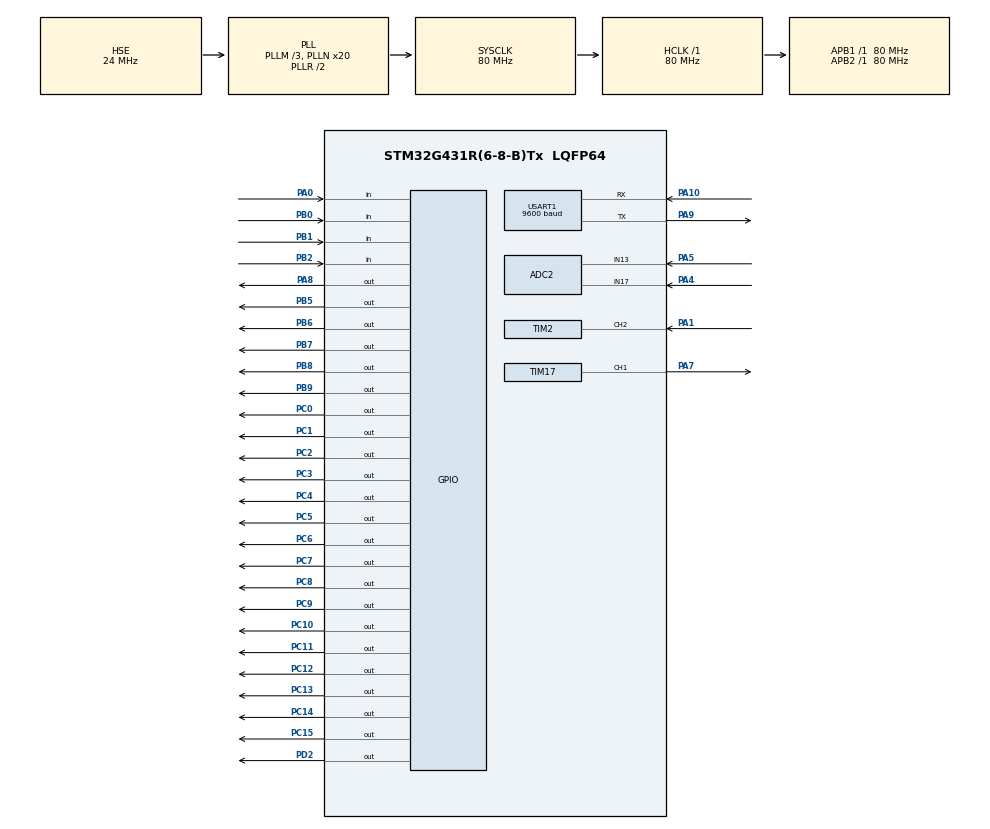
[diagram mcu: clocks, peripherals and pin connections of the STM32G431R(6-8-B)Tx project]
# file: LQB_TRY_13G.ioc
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ADC2.Channel-0\#ChannelRegularConversion=ADC_CHANNEL_17
ADC2.Channel-1\#ChannelRegularConversion=ADC_CHANNEL_13
ADC2.NbrOfConversion=2
ADC2.NbrOfConversionFlag=1
ADC2.OffsetNumber-0\#ChannelRegularConversion=ADC_OFFSET_NONE
ADC2.OffsetNumber-1\#ChannelRegularConversion=ADC_OFFSET_NONE
ADC2.Rank-0\#ChannelRegularConversion=1
ADC2.Rank-1\#ChannelRegularConversion=2
ADC2.SamplingTime-0\#ChannelRegularConversion=ADC_SAMPLETIME_640CYCLES_5
ADC2.SamplingTime-1\#ChannelRegularConversion=ADC_SAMPLETIME_640CYCLES_5
Dma.Request0=USART1_RX
Dma.USART1_RX.0.Direction=DMA_PERIPH_TO_MEMORY
Dma.USART1_RX.0.EventEnable=DISABLE
Dma.USART1_RX.0.Instance=DMA1_Channel1
Dma.USART1_RX.0.MemDataAlignment=DMA_MDATAALIGN_BYTE
Dma.USART1_RX.0.MemInc=DMA_MINC_ENABLE
Dma.USART1_RX.0.Mode=DMA_NORMAL
Dma.USART1_RX.0.PeriphDataAlignment=DMA_PDATAALIGN_BYTE
Dma.USART1_RX.0.PeriphInc=DMA_PINC_DISABLE
Dma.USART1_RX.0.Polarity=HAL_DMAMUX_REQ_GEN_RISING
Dma.USART1_RX.0.Priority=DMA_PRIORITY_LOW
Dma.USART1_RX.0.RequestNumber=1
Dma.USART1_RX.0.SignalID=NONE
Dma.USART1_RX.0.SyncEnable=DISABLE
Dma.USART1_RX.0.SyncPolarity=HAL_DMAMUX_SYNC_NO_EVENT
Dma.USART1_RX.0.SyncRequestNumber=1
Dma.USART1_RX.0.SyncSignalID=NONE
Mcu.Family=STM32G4
Mcu.Name=STM32G431R(6-8-B)Tx
Mcu.Package=LQFP64
NVIC.DMA1_Channel1_IRQn=true\:0\:0\:false\:false\:true\:false\:true
NVIC.PriorityGroup=NVIC_PRIORITYGROUP_4
NVIC.TIM2_IRQn=true\:0\:0\:false\:false\:true\:true\:true
NVIC.TIM6_DAC_IRQn=true\:0\:0\:false\:false\:true\:true\:true
NVIC.USART1_IRQn=true\:0\:0\:false\:false\:true\:true\:true
PA0.GPIO_Mode=GPIO_MODE_INPUT
PA0.GPIO_PuPd=GPIO_PULLUP
PA0.Signal=GPIO_Input
PA1.Signal=S_TIM2_CH2
PA10.Mode=Asynchronous
PA10.Signal=USART1_RX
PA13.Mode=Serial_Wire
PA13.Signal=SYS_JTMS-SWDIO
PA14.Mode=Serial_Wire
PA14.Signal=SYS_JTCK-SWCLK
PA4.Mode=IN17-Single-Ended
PA4.Signal=ADC2_IN17
PA5.Mode=IN13-Single-Ended
PA5.Signal=ADC2_IN13
PA7.Signal=S_TIM17_CH1
PA8.Signal=GPIO_Output
PA9.Mode=Asynchronous
PA9.Signal=USART1_TX
PB0.GPIO_Mode=GPIO_MODE_INPUT
PB0.GPIO_PuPd=GPIO_PULLUP
PB0.Signal=GPIO_Input
PB1.GPIO_Mode=GPIO_MODE_INPUT
PB1.GPIO_PuPd=GPIO_PULLUP
PB1.Signal=GPIO_Input
PB2.GPIO_Mode=GPIO_MODE_INPUT
PB2.GPIO_PuPd=GPIO_PULLUP
PB2.Signal=GPIO_Input
PB5.Signal=GPIO_Output
PB6.Signal=GPIO_Output
PB7.Signal=GPIO_Output
PB8-BOOT0.Signal=GPIO_Output
PB9.Signal=GPIO_Output
PC0.Signal=GPIO_Output
PC1.Signal=GPIO_Output
PC10.Signal=GPIO_Output
PC11.Signal=GPIO_Output
PC12.Signal=GPIO_Output
PC13.Signal=GPIO_Output
PC14-OSC32_IN.Signal=GPIO_Output
PC15-OSC32_OUT.Signal=GPIO_Output
PC2.Signal=GPIO_Output
PC3.Signal=GPIO_Output
PC4.Signal=GPIO_Output
PC5.Signal=GPIO_Output
PC6.Signal=GPIO_Output
PC7.Signal=GPIO_Output
PC8.Signal=GPIO_Output
PC9.Signal=GPIO_Output
PD2.Signal=GPIO_Output
PF0-OSC_IN.Mode=HSE-External-Oscillator
PF0-OSC_IN.Signal=RCC_OSC_IN
PF1-OSC_OUT.Mode=HSE-External-Oscillator
PF1-OSC_OUT.Signal=RCC_OSC_OUT
ProjectManager.HeapSize=0x200
ProjectManager.StackSize=0x400
ProjectManager.TargetToolchain=MDK-ARM V5
RCC.ADC12Freq_Value=80000000
RCC.AHBFreq_Value=80000000
RCC.APB1Freq_Value=80000000
RCC.APB1TimFreq_Value=80000000
RCC.APB2Freq_Value=80000000
RCC.APB2TimFreq_Value=80000000
RCC.CortexFreq_Value=80000000
RCC.EXTERNAL_CLOCK_VALUE=12288000
RCC.HCLKFreq_Value=80000000
RCC.HSE_VALUE=24000000
RCC.HSI48_VALUE=48000000
RCC.HSI_VALUE=16000000
RCC.LSE_VALUE=32768
RCC.PLLM=RCC_PLLM_DIV3
RCC.PLLN=20
RCC.PLLSourceVirtual=RCC_PLLSOURCE_HSE
RCC.SYSCLKFreq_VALUE=80000000
RCC.SYSCLKSource=RCC_SYSCLKSOURCE_PLLCLK
RCC.USBFreq_Value=80000000
RCC.VCOOutputFreq_Value=160000000
SH.S_TIM17_CH1.0=TIM17_CH1,PWM Generation1 CH1
SH.S_TIM2_CH2.0=TIM2_CH2,Input_Capture2_from_TI2
TIM17.Channel=TIM_CHANNEL_1
TIM17.PeriodNoDither=99
TIM17.Prescaler=799
TIM17.PulseNoDither_1=50
TIM2.Channel-Input_Capture2_from_TI2=TIM_CHANNEL_2
TIM2.PeriodNoDither=0xffff
TIM2.Prescaler=79
TIM6.PeriodNoDither=999
TIM6.Prescaler=799
USART1.BaudRate=9600
USART1.VirtualMode-Asynchronous=VM_ASYNC
VP_SYS_VS_DBSignals.Mode=DisableDeadBatterySignals
VP_TIM17_VS_ClockSourceINT.Mode=Enable_Timer
VP_TIM2_VS_ClockSourceINT.Mode=Internal
VP_TIM6_VS_ClockSourceINT.Mode=Enable_Timer
board=custom

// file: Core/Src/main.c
/* USER CODE BEGIN Header */
/**
  ******************************************************************************
  * @file           : main.c
  * @brief          : Main program body
  ******************************************************************************
  * @attention
  *
  * <h2><center>&copy; Copyright (c) 2023 STMicroelectronics.
  * All rights reserved.</center></h2>
  *
  * This software component is licensed by ST under BSD 3-Clause license,
  * the "License"; You may not use this file except in compliance with the
  * License. You may obtain a copy of the License at:
  *                        opensource.org/licenses/BSD-3-Clause
  *
  ******************************************************************************
  */
/* USER CODE END Header */
#include "main.h"
#include "adc.h"
#include "dma.h"
#include "tim.h"
#include "usart.h"
#include "gpio.h"

/* USER CODE BEGIN Includes */
#include "lcd.h"
#include "i2c_hal.h"
/* USER CODE END Includes */

/* USER CODE BEGIN PTD */
typedef struct
{
	bool long_sta,key_sta,single_sta;
	unsigned char time_sta,judge_sta;
}keys;
/* USER CODE END PTD */

/* USER CODE BEGIN PV */
keys key[4] = { 0 };
unsigned char page=0,X=1,Y=1,N=0,ADCTIME=0,lcd_sta=0,v_time=0;
char text[30],rxdata[100];
double PA4[101]={0},PA5[101]={0},A[2]={0},T[2]={10,10},H[2]={0},PA1=0;
bool PA=0,mode=0,v_flag=0,vl_flag=0;
/* USER CODE END PV */

void SystemClock_Config(void);
/* USER CODE BEGIN PFP */
void KEY_Proc(void);
void LCD_Proc(void);
void ADCValue(void);
void LED_Proc(unsigned char led,unsigned char sta);
/* USER CODE END PFP */

int main(void)
{

  /* MCU Configuration--------------------------------------------------------*/

  /* Reset of all peripherals, Initializes the Flash interface and the Systick. */
  HAL_Init();

  /* Configure the system clock */
  SystemClock_Config();

  /* Initialize all configured peripherals */
  MX_GPIO_Init();
  MX_DMA_Init();
  MX_USART1_UART_Init();
  MX_ADC2_Init();
  MX_TIM2_Init();
  MX_TIM6_Init();
  MX_TIM17_Init();
  /* USER CODE BEGIN 2 */
	//TIM6_INIT
	HAL_TIM_Base_Start_IT(&htim6);
	//LCD_INIT
	LCD_Init();
	LCD_Clear(Black);
	LCD_SetBackColor(Black);
	LCD_SetTextColor(White);
	//ADC_INIT
	HAL_ADCEx_Calibration_Start(&hadc2,ADC_SINGLE_ENDED);
	//TIM2_CH2、TIM17_CH1_INIT
	HAL_TIM_IC_Start_IT(&htim2,TIM_CHANNEL_2);
	HAL_TIM_PWM_Start(&htim17,TIM_CHANNEL_1);
	//LED_INIT
	LED_Proc(1,1);
	//I2C_INIT
	I2CInit();
	X = eeprom_read(1);
	if(X < 1 || X > 4) X = 1;
	Y = eeprom_read(0);
	if(Y < 1 || Y > 4) Y = 1;
	if(mode == 0) htim17.Init.Prescaler = 8000000/PA1/X;
	else htim17.Init.Prescaler = 8000000/PA1*X;
	HAL_TIM_Base_Init(&htim17);
	//UART_INIT
	HAL_UART_Receive_DMA(&huart1,(uint8_t *)rxdata,100);
	__HAL_UART_ENABLE_IT(&huart1,UART_IT_IDLE);
  /* USER CODE END 2 */

  /* Infinite loop */
  /* USER CODE BEGIN WHILE */
  while (1)
  {
		LCD_Proc();
		KEY_Proc();
		if(lcd_sta == 0) LED_Proc(4,1);
		else LED_Proc(4,0);
		if(PA4[1] > PA5[1] * Y) v_flag = 1;
		else
		{
			LED_Proc(3,0);
			v_flag = 0;
			v_time = 0;
		}
    /* USER CODE END WHILE */

  }
}

void SystemClock_Config(void)
{
  RCC_OscInitTypeDef RCC_OscInitStruct = {0};
  RCC_ClkInitTypeDef RCC_ClkInitStruct = {0};
  RCC_PeriphCLKInitTypeDef PeriphClkInit = {0};

  /** Configure the main internal regulator output voltage
  */
  HAL_PWREx_ControlVoltageScaling(PWR_REGULATOR_VOLTAGE_SCALE1);
  /** Initializes the RCC Oscillators according to the specified parameters
  * in the RCC_OscInitTypeDef structure.
  */
  RCC_OscInitStruct.OscillatorType = RCC_OSCILLATORTYPE_HSE;
  RCC_OscInitStruct.HSEState = RCC_HSE_ON;
  RCC_OscInitStruct.PLL.PLLState = RCC_PLL_ON;
  RCC_OscInitStruct.PLL.PLLSource = RCC_PLLSOURCE_HSE;
  RCC_OscInitStruct.PLL.PLLM = RCC_PLLM_DIV3;
  RCC_OscInitStruct.PLL.PLLN = 20;
  RCC_OscInitStruct.PLL.PLLP = RCC_PLLP_DIV2;
  RCC_OscInitStruct.PLL.PLLQ = RCC_PLLQ_DIV2;
  RCC_OscInitStruct.PLL.PLLR = RCC_PLLR_DIV2;
  if (HAL_RCC_OscConfig(&RCC_OscInitStruct) != HAL_OK)
  {
    Error_Handler();
  }
  /** Initializes the CPU, AHB and APB buses clocks
  */
  RCC_ClkInitStruct.ClockType = RCC_CLOCKTYPE_HCLK|RCC_CLOCKTYPE_SYSCLK
                              |RCC_CLOCKTYPE_PCLK1|RCC_CLOCKTYPE_PCLK2;
  RCC_ClkInitStruct.SYSCLKSource = RCC_SYSCLKSOURCE_PLLCLK;
  RCC_ClkInitStruct.AHBCLKDivider = RCC_SYSCLK_DIV1;
  RCC_ClkInitStruct.APB1CLKDivider = RCC_HCLK_DIV1;
  RCC_ClkInitStruct.APB2CLKDivider = RCC_HCLK_DIV1;

  if (HAL_RCC_ClockConfig(&RCC_ClkInitStruct, FLASH_LATENCY_2) != HAL_OK)
  {
    Error_Handler();
  }
  /** Initializes the peripherals clocks
  */
  PeriphClkInit.PeriphClockSelection = RCC_PERIPHCLK_USART1|RCC_PERIPHCLK_ADC12;
  PeriphClkInit.Usart1ClockSelection = RCC_USART1CLKSOURCE_PCLK2;
  PeriphClkInit.Adc12ClockSelection = RCC_ADC12CLKSOURCE_SYSCLK;
  if (HAL_RCCEx_PeriphCLKConfig(&PeriphClkInit) != HAL_OK)
  {
    Error_Handler();
  }
}

/* USER CODE BEGIN 4 */
/**********************************************************************************
*TIM6:0.01s
*TIM
**********************************************************************************/
void HAL_TIM_PeriodElapsedCallback(TIM_HandleTypeDef *htim)
{
	if(htim->Instance == TIM6)
	{
		ADCTIME++;
		if(ADCTIME >= 10)
		{
			ADCTIME = 0;
			ADCValue();
		}

		if(v_flag == 1)
		{
			v_time++;
			if(v_time >= 10)
			{
				vl_flag = vl_flag >=1?0:1;
				LED_Proc(3,vl_flag);
				v_time = 0;
			}
		}

		key[0].key_sta = HAL_GPIO_ReadPin(GPIOB,GPIO_PIN_0);
		key[1].key_sta = HAL_GPIO_ReadPin(GPIOB,GPIO_PIN_1);
		key[2].key_sta = HAL_GPIO_ReadPin(GPIOB,GPIO_PIN_2);
		key[3].key_sta = HAL_GPIO_ReadPin(GPIOA,GPIO_PIN_0);

		for(int i=0;i<4;i++)
		{
			switch(key[i].judge_sta)
			{
				case 0:
				{
					if(key[i].key_sta == 0) key[i].judge_sta = 1;
				}
				break;
				case 1:
				{
					if(key[i].key_sta == 0) key[i].judge_sta = 2;
					else key[i].judge_sta = 0;
				}
				break;
				case 2:
				{
					key[i].time_sta++;
					if(key[i].key_sta == 1 && key[i].time_sta<100)
					{
						key[i].single_sta = 1;
						key[i].judge_sta = 0;
						key[i].time_sta = 0;
					}
					else if(key[i].time_sta >= 100 && key[i].key_sta == 0)
					{
						key[i].judge_sta = 3;
						key[i].long_sta = 1;
						key[i].time_sta = 0;
					}
				}
				break;
				case 3:
				{
					if(key[i].key_sta == 1) key[i].judge_sta = 0;
				}
				break;
			}
		}
	}
}
/**********************************************************************************
*按键操作函数
*KEY_Proc
**********************************************************************************/
void KEY_Proc(void)
{
	if(key[0].single_sta == 1)
	{
		page = page >= 2?0:page+1;
		if(page == 2) PA = 0;
		key[0].single_sta = 0;
	}
	if(key[1].single_sta == 1)
	{
		if(page == 1) X = X >= 4?1:X+1;
		eeprom_write(1,X);
		HAL_Delay(10);
		if(mode == 0) htim17.Init.Prescaler = 8000000/PA1/X;
		else htim17.Init.Prescaler = 8000000/PA1*X;
		HAL_TIM_Base_Init(&htim17);
		key[1].single_sta = 0;
	}
	if(key[2].single_sta == 1)
	{
		if(page == 1) Y = Y >= 4?1:Y+1;
		eeprom_write(0,Y);
		HAL_Delay(10);
		key[2].single_sta = 0;
	}
	if(key[3].single_sta == 1)
	{
		if(page == 0)
		{
			for(int j=100;j>0;j--)
			{
				PA4[j] = PA4[j-1];
				PA5[j] = PA5[j-1];
			}
			if(PA4[1] > A[0]) A[0] = PA4[1];
			if(PA4[1] < T[0]) T[0] = PA4[1];
			if(PA5[1] > A[1]) A[1] = PA5[1];
			if(PA5[1] < T[1]) T[1] = PA5[1];
			N = N>=100?100:N+1;
			H[0] = 0;
			H[1] = 0;
			for(int j=0;j<N;j++)
			{
				H[0] = H[0] + PA4[j+1];
				H[1] = H[1] + PA5[j+1];
			}
			H[0] /= N;
			H[1] /= N;
		}
		else if(page == 1)
		{
			mode = mode ==0?1:0;
			if(mode == 0)
			{
				htim17.Init.Prescaler = 8000000/PA1/X;
				LED_Proc(1,1);
				LED_Proc(2,0);
			}
			else
			{
				LED_Proc(1,0);
				LED_Proc(2,1);
				htim17.Init.Prescaler = 8000000/PA1*X;
			}
			HAL_TIM_Base_Init(&htim17);
		}
		else if(page == 2) PA = PA == 0?1:0;
		key[3].single_sta = 0;
	}
	if(key[3].long_sta == 1)
	{
		if(page == 2)
		{
			for(int j=1;j<101;j++)
			{
				PA4[j] = 0;
				PA5[j] = 0;
			}
			N = 0;
			A[0] = 0;
			A[1] = 0;
			T[0] = 10;
			T[1] = 10;
			H[0] = 0;
			H[1] = 0;
		}
		key[3].long_sta = 0;
	}
}
/**********************************************************************************
*LCD显示函数
*LCD_Proc
**********************************************************************************/
void LCD_Proc(void)
{
	if(page == 0)
	{
		LCD_DisplayStringLine(Line1,(u8 *)"        DATA        ");

		sprintf(text,"     PA4:%1.2f     ",PA4[1]);
		LCD_DisplayStringLine(Line3,(u8 *)text);
		sprintf(text,"     PA5:%1.2f     ",PA5[1]);
		LCD_DisplayStringLine(Line4,(u8 *)text);
		sprintf(text,"     PA1:%.0f     ",PA1);
		LCD_DisplayStringLine(Line5,(u8 *)text);

		LCD_DisplayStringLine(Line6,(u8 *)"                    ");

	}
	else if(page == 1)
	{
		LCD_DisplayStringLine(Line1,(u8 *)"        PARA        ");

		sprintf(text,"     X:%d         ",X);
		LCD_DisplayStringLine(Line3,(u8 *)text);
		sprintf(text,"     Y:%d         ",Y);
		LCD_DisplayStringLine(Line4,(u8 *)text);

		LCD_DisplayStringLine(Line5,(u8 *)"                    ");
		LCD_DisplayStringLine(Line6,(u8 *)"                    ");
	}
	else if(page == 2)
	{
		if(PA == 0) LCD_DisplayStringLine(Line1,(u8 *)"        REC-PA4     ");
		else LCD_DisplayStringLine(Line1,(u8 *)"        REC-PA5     ");
		sprintf(text,"     N:%d     ",N);
		LCD_DisplayStringLine(Line3,(u8 *)text);
		if(N == 0) LCD_DisplayStringLine(Line4,(u8 *)"     A:0     ");
		else
		{
			sprintf(text,"     A:%1.2f     ",(double)A[PA]);
			LCD_DisplayStringLine(Line4,(u8 *)text);
		}
		if(N == 0) LCD_DisplayStringLine(Line5,(u8 *)"     T:0     ");
		else
		{
			sprintf(text,"     T:%1.2f     ",(double)T[PA]);
			LCD_DisplayStringLine(Line5,(u8 *)text);
		}
		sprintf(text,"     H:%1.2f     ",(double)H[PA]);
		LCD_DisplayStringLine(Line6,(u8 *)text);

	}
	else page = 0;
}
/**********************************************************************************
*ADC读值
*ADCValue
**********************************************************************************/
void ADCValue(void)
{
	HAL_ADC_Start(&hadc2);
	PA4[0] = HAL_ADC_GetValue(&hadc2);
	PA4[0] = PA4[0]/4095*3.3;
	HAL_ADC_Start(&hadc2);
	PA5[0] = HAL_ADC_GetValue(&hadc2);
	PA5[0] = PA5[0]/4095*3.3;
}
/**********************************************************************************
*输入捕获函数
*TIM2_CH2
**********************************************************************************/
void HAL_TIM_IC_CaptureCallback(TIM_HandleTypeDef *htim)
{
	if(htim->Instance == TIM2)
	{
		PA1 = HAL_TIM_ReadCapturedValue(htim,TIM_CHANNEL_2);
		PA1 = 1000000/PA1;
		__HAL_TIM_SetCounter(htim,0);
		HAL_TIM_IC_Start(htim,TIM_CHANNEL_2);
	}
}
/**********************************************************************************
*LED控制函数
*LED_Proc
**********************************************************************************/
void LED_Proc(unsigned char led,unsigned char sta)
{
	static unsigned char LED_STA = 0xff;
	if(sta == 0) LED_STA |= (0x01 << (led -1));
	else LED_STA &= ~(0x01 << (led -1));

	GPIOC->ODR = LED_STA << 8;
	HAL_GPIO_WritePin(GPIOD,GPIO_PIN_2,GPIO_PIN_SET);
	HAL_GPIO_WritePin(GPIOD,GPIO_PIN_2,GPIO_PIN_RESET);
}

void YY(void)
{

}

/* USER CODE END 4 */

void Error_Handler(void)
{
  __disable_irq();
  while (1)
  {
  }
}

/************************ (C) COPYRIGHT STMicroelectronics *****END OF FILE****/
